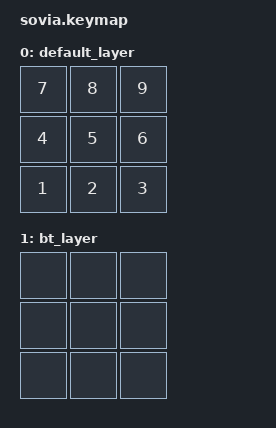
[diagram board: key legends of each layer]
#include <behaviors.dtsi>
#include <dt-bindings/zmk/keys.h>
#include <dt-bindings/zmk/bt.h>

/ {
    keymap {
        compatible = "zmk,keymap";

        default_layer {
            bindings = <
                &kp 7   &kp 8   &kp 9
                &kp 4   &kp 5   &kp 6
                &kp 1   &kp 2   &kp 3 
                >;  
        };

        bt_layer {
            bindings = <
                &none               &none           &none
                &none               &none           &none
                &none               &none          &none
            >;
        };
    };
};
